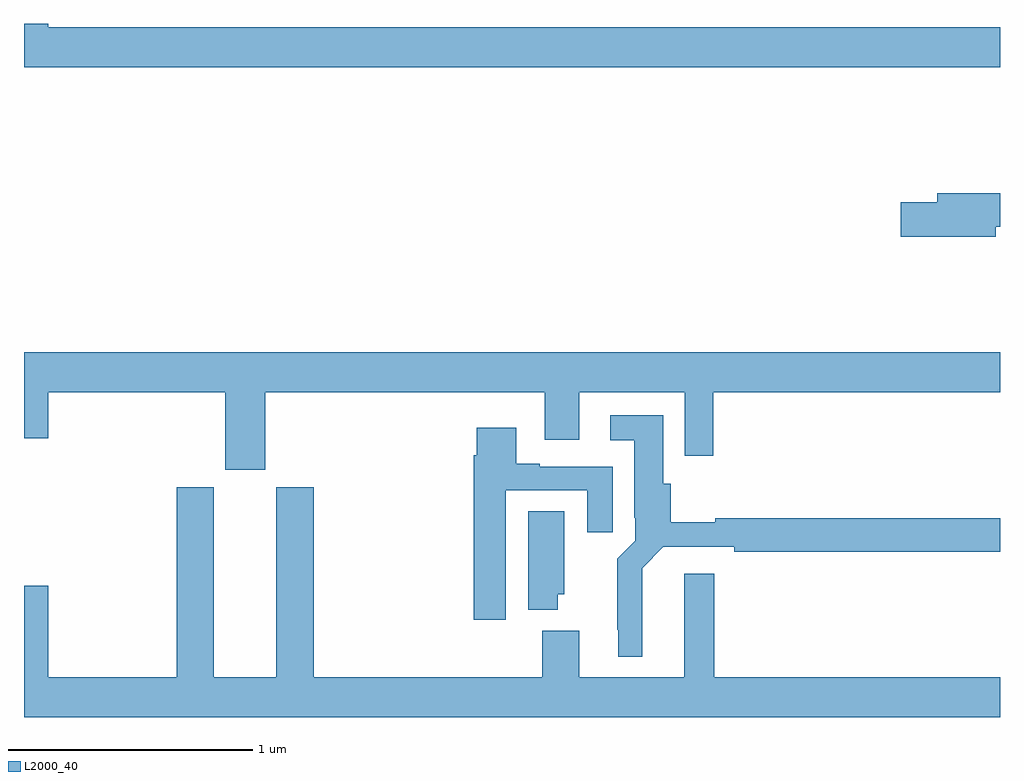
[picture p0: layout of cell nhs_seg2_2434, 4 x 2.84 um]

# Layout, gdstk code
import gdstk
lib = gdstk.Library(unit=1e-6, precision=1e-09)
def P(c, l, *ps):  # polygons
    for p in ps: c.add(gdstk.Polygon(p, *l))
L2000_40 = (2000, 40)

nhs_seg2_2434 = lib.new_cell('nhs_seg2_2434')
P(nhs_seg2_2434, L2000_40, [(241,663.784),(237.1,663.784),(237.1,663.8),(237,663.8),(237,663.62),(241,663.62)],
  [(240.982,662.968),(241,662.968),(241,663.104),(240.743,663.104),(240.743,663.068),(240.594,663.068),(240.594,662.926),(240.982,662.926)],
  [(237.988,662.288),(239.135,662.288),(239.135,662.094),(239.275,662.094),(239.275,662.288),(239.709,662.288),(239.709,662.028),(239.825,662.028),(239.825,662.288),(241,662.288),(241,662.452),(237,662.452),(237,662.1),(237.1,662.1),(237.1,662.288),(237.824,662.288),(237.824,661.971),(237.988,661.971)],
  [(239.533,661.568),(239.62,661.656),(239.911,661.656),(239.911,661.636),(241,661.636),(241,661.772),(239.834,661.772),(239.834,661.757),(239.651,661.757),(239.651,661.914),(239.62,661.914),(239.62,662.194),(239.403,662.194),(239.403,662.093),(239.501,662.093),(239.501,661.774),(239.505,661.774),(239.505,661.68),(239.431,661.606),(239.431,661.315),(239.435,661.315),(239.435,661.205),(239.533,661.205)],
  [(238.975,661.887),(239.309,661.887),(239.309,661.716),(239.413,661.716),(239.413,661.983),(239.113,661.983),(239.113,661.996),(239.017,661.996),(239.017,662.143),(238.856,662.143),(238.856,662.03),(238.844,662.03),(238.844,661.356),(238.975,661.356)],
  [(241,661.12),(239.828,661.12),(239.828,661.546),(239.705,661.546),(239.705,661.12),(239.275,661.12),(239.275,661.312),(239.123,661.312),(239.123,661.12),(238.187,661.12),(238.187,661.899),(238.034,661.899),(238.034,661.12),(237.778,661.12),(237.778,661.899),(237.626,661.899),(237.626,661.12),(237.1,661.12),(237.1,661.495),(237,661.495),(237,660.956),(241,660.956)],
  [(239.188,661.461),(239.215,661.461),(239.215,661.802),(239.066,661.802),(239.066,661.397),(239.188,661.397)])

lib.write_gds('nhs_seg2_2434.gds')
